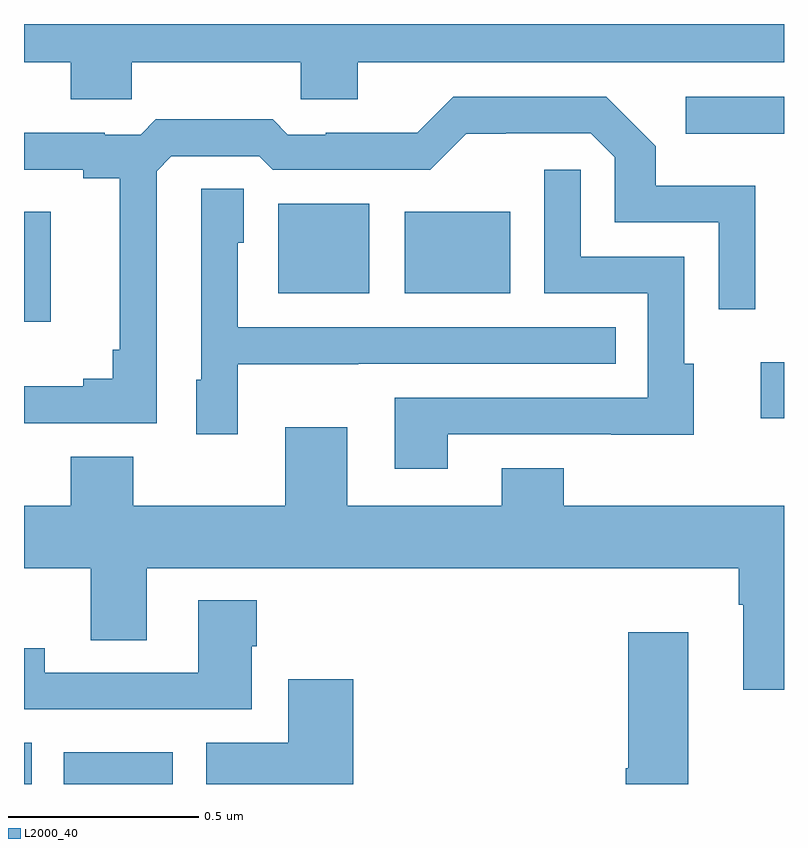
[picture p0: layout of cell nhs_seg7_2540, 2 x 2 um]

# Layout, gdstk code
import gdstk
lib = gdstk.Library(unit=1e-6, precision=1e-09)
def R(c, l, rs):  # rectangles x0, y0, x1, y1
    for r in rs: c.add(gdstk.rectangle(r[:2], r[2:], *l))
def P(c, l, *ps):  # polygons
    for p in ps: c.add(gdstk.Polygon(p, *l))
L2000_40 = (2000, 40)

nhs_seg7_2540 = lib.new_cell('nhs_seg7_2540')
R(nhs_seg7_2540, L2000_40, [(146,1048,146.02,1048.108), (146.105,1048,146.392,1048.084), (147.939,1048.962,148,1049.11), (146,1049.216,146.071,1049.506), (146.669,1049.291,146.908,1049.527), (147.002,1049.291,147.28,1049.506), (147.741,1049.711,148,1049.808)])
P(nhs_seg7_2540, L2000_40, [(146.283,1049.9),(146.728,1049.9),(146.728,1049.802),(146.878,1049.802),(146.878,1049.9),(148,1049.9),(148,1050),(146,1050),(146,1049.9),(146.123,1049.9),(146.123,1049.802),(146.283,1049.802)],
  [(146.349,1049.613),(146.388,1049.652),(146.619,1049.652),(146.655,1049.616),(147.069,1049.616),(147.164,1049.711),(147.268,1049.711),(147.268,1049.712),(147.492,1049.712),(147.555,1049.649),(147.555,1049.478),(147.828,1049.478),(147.828,1049.25),(147.924,1049.25),(147.924,1049.575),(147.663,1049.575),(147.663,1049.678),(147.532,1049.808),(147.129,1049.808),(147.035,1049.714),(146.794,1049.714),(146.794,1049.709),(146.694,1049.709),(146.655,1049.749),(146.347,1049.749),(146.307,1049.709),(146.213,1049.709),(146.213,1049.714),(146,1049.714),(146,1049.616),(146.156,1049.616),(146.156,1049.594),(146.252,1049.594),(146.252,1049.143),(146.233,1049.143),(146.233,1049.066),(146.156,1049.066),(146.156,1049.047),(146,1049.047),(146,1048.95),(146.349,1048.95)],
  [(147.115,1048.92),(147.545,1048.92),(147.545,1048.919),(147.763,1048.919),(147.763,1049.106),(147.738,1049.106),(147.738,1049.388),(147.465,1049.388),(147.465,1049.617),(147.369,1049.617),(147.369,1049.292),(147.642,1049.292),(147.642,1049.016),(146.975,1049.016),(146.975,1048.83),(147.115,1048.83)],
  [(146.562,1049.105),(146.879,1049.105),(146.879,1049.106),(147.557,1049.106),(147.557,1049.202),(146.562,1049.202),(146.562,1049.424),(146.578,1049.424),(146.578,1049.567),(146.466,1049.567),(146.466,1049.064),(146.453,1049.064),(146.453,1048.92),(146.562,1048.92)],
  [(146.687,1048.939),(146.687,1048.732),(146.287,1048.732),(146.287,1048.861),(146.123,1048.861),(146.123,1048.732),(146,1048.732),(146,1048.568),(146.176,1048.568),(146.176,1048.378),(146.323,1048.378),(146.323,1048.568),(147.881,1048.568),(147.881,1048.472),(147.893,1048.472),(147.893,1048.248),(148,1048.248),(148,1048.732),(147.421,1048.732),(147.421,1048.831),(147.257,1048.831),(147.257,1048.732),(146.851,1048.732),(146.851,1048.939)],
  [(146.599,1048.363),(146.612,1048.363),(146.612,1048.483),(146.459,1048.483),(146.459,1048.293),(146.055,1048.293),(146.055,1048.357),(146,1048.357),(146,1048.197),(146.599,1048.197)],
  [(147.748,1048.399),(147.59,1048.399),(147.59,1048.041),(147.584,1048.041),(147.584,1048),(147.748,1048)],
  [(146.867,1048.276),(146.696,1048.276),(146.696,1048.108),(146.48,1048.108),(146.48,1048),(146.867,1048)])

lib.write_gds('nhs_seg7_2540.gds')
